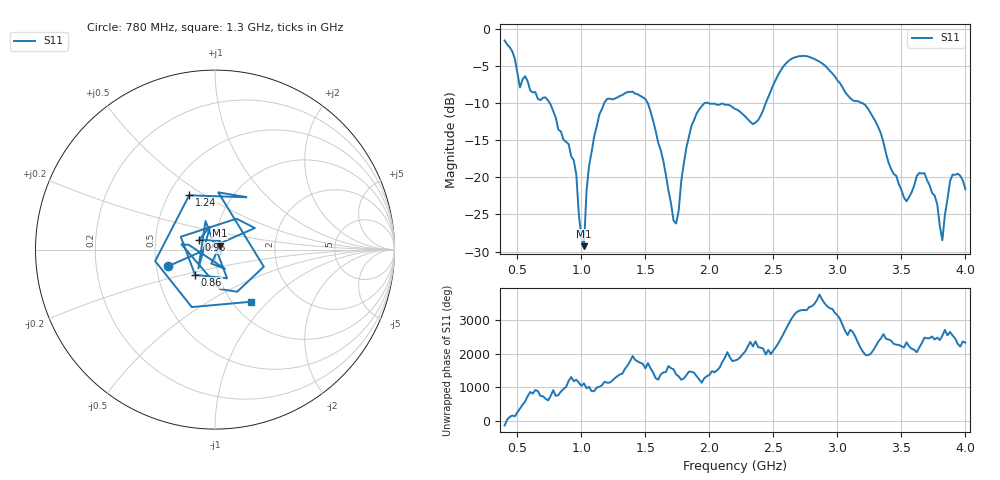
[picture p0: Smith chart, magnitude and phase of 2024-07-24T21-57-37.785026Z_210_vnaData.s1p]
!Created with skrf (http://scikit-rf.org).
# Hz S RI R 50.0
!freq ReS11 ImS11
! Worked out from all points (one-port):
!   181 points, 400 MHz to 4 GHz, reference 50 ohm
!   lowest |S11| = -29.3 dB at 1.02 GHz (marker M1), VSWR 1.07, Z = 52.6 + j2.34 ohm
!   |S11| at or under -10 dB: 1.519 GHz to 1.961 GHz (442.9 MHz wide, 25.5 % of centre); 1.993 GHz to 2.44 GHz (447 MHz wide, 20.2 % of centre); 3.195 GHz to end of sweep (the widest 3 of 4)
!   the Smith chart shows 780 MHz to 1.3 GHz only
!   S11 on the Smith chart (normalised r, x): 780 MHz: 0.58, -0.12; 860 MHz: 0.77, -0.22; 960 MHz: 0.83, +0.09; 1.24 GHz: 0.63, +0.43; 1.3 GHz: 1.21, -0.80
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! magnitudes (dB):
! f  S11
! 400 MHz  -1.5
! 520 MHz  -7.9
! 560 MHz  -6.4
! 780 MHz  -11.1
! 860 MHz  -14.9
! 960 MHz  -19.6
! 980 MHz  -25.0
! 1.02 GHz  -29.3
! 1.04 GHz  -21.9
! 1.1 GHz  -14.5
! 1.24 GHz  -9.5
! 1.3 GHz  -9.0
! 1.52 GHz  -10.0
! 1.72 GHz  -25.8
! 1.76 GHz  -24.5
! 1.82 GHz  -16.0
! 1.9 GHz  -11.4
! 2.2 GHz  -10.8
! 2.38 GHz  -12.3
! 2.66 GHz  -3.9
! 3.1 GHz  -9.3
! 3.26 GHz  -11.3
! 3.56 GHz  -22.7
! 3.68 GHz  -19.4
! 3.78 GHz  -23.6
! 3.82 GHz  -28.5
! 3.9 GHz  -19.6
! 4 GHz  -21.6
